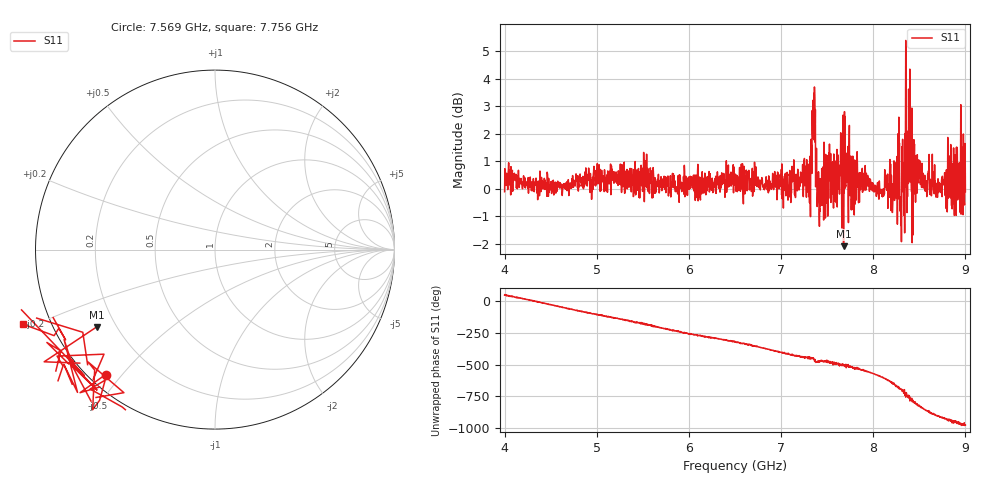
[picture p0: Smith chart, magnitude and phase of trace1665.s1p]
! Created with skrf 1.8.0 (http://scikit-rf.org).
# Hz S RI R 50.0
!freq ReS11 ImS11
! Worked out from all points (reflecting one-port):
!   1601 points, 4 GHz to 9 GHz, reference 50 ohm
!   lowest |S11| = -2.1 dB at 7.678 GHz (marker M1), VSWR 8.40, Z = 6.47 - j14.7 ohm
!   phase of S11 starts at 51 deg and turns -1027 deg over the sweep
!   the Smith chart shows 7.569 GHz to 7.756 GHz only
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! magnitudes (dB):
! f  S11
! 4 GHz  -0.1
! 4.625 GHz  -0.2
! 5.25 GHz  0.3
! 5.875 GHz  0.1
! 6.5 GHz  0.5
! 7.125 GHz  0.7
! 7.294 GHz  0.4
! 7.319 GHz  -1.0
! 7.347 GHz  3.2
! 7.362 GHz  3.7
! 7.412 GHz  -0.9
! 7.509 GHz  -0.3
! 7.591 GHz  1.0
! 7.678 GHz  -2.1
! 7.75 GHz  -0.2
! 8.194 GHz  -0.3
! 8.259 GHz  0.5
! 8.316 GHz  0.1
! 8.334 GHz  -0.7
! 8.356 GHz  2.2
! 8.375 GHz  1.0
! 8.447 GHz  1.6
! 8.459 GHz  -0.5
! 8.706 GHz  0.0
! 8.819 GHz  -0.1
! 8.875 GHz  0.2
! 8.953 GHz  -0.9
! 9 GHz  -0.1
